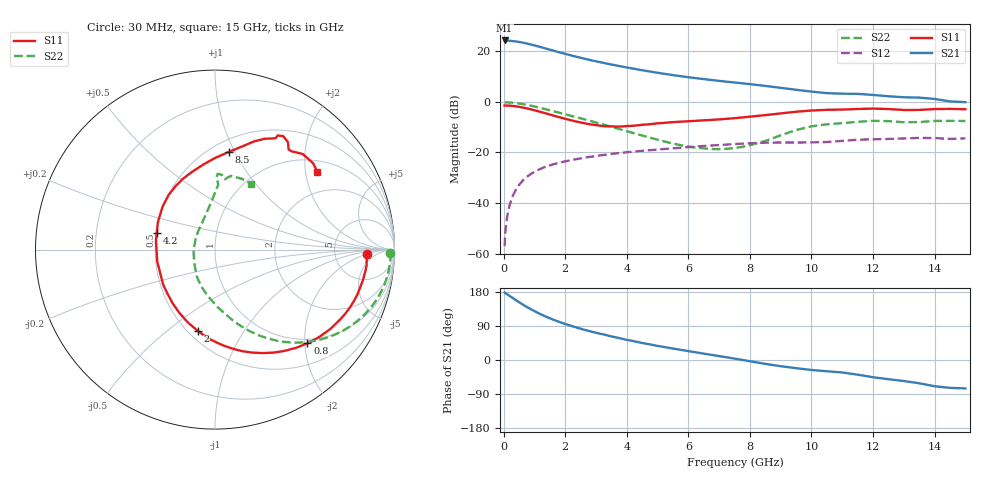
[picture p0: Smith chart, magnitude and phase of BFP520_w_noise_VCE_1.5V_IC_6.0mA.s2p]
! Infineon Technologies  Discrete & RF Semiconductors
! BFP520
! VCE =  1.5 V,  IC =  6.0 mA
! Common Emitter S-Parameters:  Oct 2015
# GHz  S  MA  R  50
!  f  S11  S21  S12  S22
! GHz  MAG  ANG  MAG  ANG  MAG  ANG  MAG  ANG
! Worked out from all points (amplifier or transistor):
!   109 points, 30 MHz to 15 GHz, reference 50 ohm
!   highest |S21| = 24.3 dB at 30 MHz (marker M1)
!   |S21| within 3 dB of that: start of sweep to 1.314 GHz
!   unconditionally stable (mu >= 1): 3.93 GHz to end of sweep
!   at 450 MHz: K = 0.14, MSG = 28.8 dB, |S12| = -33.7 dB
!   at 4 GHz: K = 1.01, MAG = 16.2 dB, |S12| = -19.9 dB
!   at 15 GHz: K = 1.36, MAG = 3.6 dB, |S12| = -14.4 dB
!   lowest NFmin = 1.26 dB at 900 MHz
!   S11 on the Smith chart (normalised r, x): 30 MHz: 12, -2; 800 MHz: 0.91, -2.06; 2 GHz: 0.56, -0.65; 4.2 GHz: 0.50, +0.10; 8.5 GHz: 0.61, +0.95; 15 GHz: 1.30, +2.32
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0.03  0.8493 -1.7  16.45 178.0  0.0014 88.6  0.9762 -1.0
0.05  0.85 -2.6  16.32 176.4  0.0023 90.2  0.9774 -1.7
0.11  0.8473 -6.5  16.29 173.7  0.0052 86.8  0.9781 -4.2
0.25  0.8356 -14.7  16.11 165.9  0.0116 82.5  0.9688 -9.8
0.45  0.809 -26.2  15.52 155.1  0.0206 77.1  0.9411 -17.5
0.6  0.7798 -34.6  14.97 147.4  0.0269 73.0  0.9114 -23.0
0.8  0.7335 -45.4  14.05 137.7  0.0346 67.9  0.8641 -29.8
1  0.6838 -55.7  13.13 128.9  0.0415 63.4  0.8122 -36.1
1.3  0.6093 -70.3  11.71 117.1  0.0505 57.6  0.7331 -44.5
1.6  0.5397 -84.3  10.4 106.7  0.058 52.8  0.6577 -51.7
2  0.464 -101.8  8.928 95.0  0.0668 47.7  0.5691 -59.9
2.6  0.3811 -128.2  7.22 80.2  0.0782 41.4  0.4564 -70.6
3  0.3487 -145.8  6.358 71.8  0.0853 37.8  0.3914 -77.6
3.5  0.3286 -168.1  5.497 62.1  0.0936 33.4  0.3221 -87.1
4.2  0.3374 164.2  4.567 50.1  0.1038 27.4  0.2432 -103.0
5.1  0.3809 138.6  3.692 35.9  0.1155 20.5  0.1725 -127.0
6.1  0.418 120.7  3.028 22.1  0.1288 13.3  0.1281 -156.0
7.6  0.4831 96.4  2.385 2.3  0.1478 1.3  0.125 147.2
8.5  0.549 82.1  2.072 -10.2  0.1561 -7.0  0.1684 114.6
10.5  0.6976 62.6  1.492 -29.7  0.161 -19.4  0.361 87.2
13  0.6928 53.7  1.237 -55.5  0.1894 -38.7  0.3961 81.8
15  0.7162 37.4  0.989 -75.0  0.1901 -54.1  0.4192 61.1
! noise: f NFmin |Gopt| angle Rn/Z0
0.45  1.29  0.43  2  0.31
0.9  1.26  0.42  9  0.32
1.9  1.48  0.36  20  0.28
2.4  1.51  0.32  32  0.27
3.5  1.45  0.29  55  0.26
